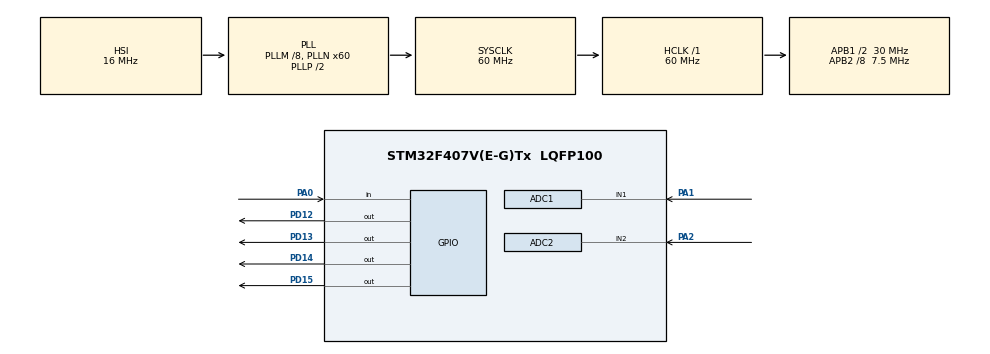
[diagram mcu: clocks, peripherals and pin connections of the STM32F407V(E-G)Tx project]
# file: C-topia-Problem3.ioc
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ADC1.Channel-0\#ChannelRegularConversion=ADC_CHANNEL_1
ADC1.InjNumberOfConversion=0
ADC1.NbrOfConversion=1
ADC1.NbrOfConversionFlag=1
ADC1.Resolution=ADC_RESOLUTION_8B
ADC1.master=1
ADC2.Channel-4\#ChannelRegularConversion=ADC_CHANNEL_2
ADC2.NbrOfConversionFlag=1
ADC2.Rank-4\#ChannelRegularConversion=1
ADC2.Resolution=ADC_RESOLUTION_8B
ADC2.SamplingTime-4\#ChannelRegularConversion=ADC_SAMPLETIME_3CYCLES
Mcu.Family=STM32F4
Mcu.Name=STM32F407V(E-G)Tx
Mcu.Package=LQFP100
NVIC.PriorityGroup=NVIC_PRIORITYGROUP_0
PA0-WKUP.Signal=GPIO_Input
PA1.Signal=ADCx_IN1
PA2.Signal=ADCx_IN2
PD12.Signal=GPIO_Output
PD13.Signal=GPIO_Output
PD14.Signal=GPIO_Output
PD15.Signal=GPIO_Output
ProjectManager.HeapSize=0x200
ProjectManager.StackSize=0x400
ProjectManager.TargetToolchain=STM32CubeIDE
RCC.48MHZClocksFreq_Value=17142857.14285714
RCC.AHBFreq_Value=60000000
RCC.APB1CLKDivider=RCC_HCLK_DIV2
RCC.APB1Freq_Value=30000000
RCC.APB1TimFreq_Value=60000000
RCC.APB2CLKDivider=RCC_HCLK_DIV8
RCC.APB2Freq_Value=7500000
RCC.APB2TimFreq_Value=15000000
RCC.CortexFreq_Value=60000000
RCC.HCLKFreq_Value=60000000
RCC.HSE_VALUE=8000000
RCC.HSI_VALUE=16000000
RCC.LSE_VALUE=32768
RCC.PLLM=8
RCC.PLLN=60
RCC.PLLQ=7
RCC.SYSCLKFreq_VALUE=60000000
RCC.SYSCLKSource=RCC_SYSCLKSOURCE_PLLCLK
RCC.VCOOutputFreq_Value=120000000
SH.ADCx_IN1.0=ADC1_IN1,IN1
SH.ADCx_IN2.0=ADC2_IN2,IN2
board=STM32F407G-DISC1

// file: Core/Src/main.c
/* USER CODE BEGIN Header */
/**
  ******************************************************************************
  * @file           : main.c
  * @brief          : Main program body
  ******************************************************************************
  * @attention
  *
  * Copyright (c) 2025 STMicroelectronics.
  * All rights reserved.
  *
  * This software is licensed under terms that can be found in the LICENSE file
  * in the root directory of this software component.
  * If no LICENSE file comes with this software, it is provided AS-IS.
  *
  ******************************************************************************
  */
/* USER CODE END Header */
#include "main.h"

ADC_HandleTypeDef hadc1;
ADC_HandleTypeDef hadc2;

void SystemClock_Config(void);
static void MX_GPIO_Init(void);
static void MX_ADC1_Init(void);
static void MX_ADC2_Init(void);

int main(void)
{

  /* MCU Configuration--------------------------------------------------------*/

  /* Reset of all peripherals, Initializes the Flash interface and the Systick. */
  HAL_Init();

  /* Configure the system clock */
  SystemClock_Config();

  /* Initialize all configured peripherals */
  MX_GPIO_Init();
  MX_ADC1_Init();
  MX_ADC2_Init();

  /* Infinite loop */
  while (1)
  {

    /* USER CODE BEGIN 3 */
	  int INX=0;
	  int INY=0;
	  if(HAL_GPIO_ReadPin(GPIOA, GPIO_PIN_0)== GPIO_PIN_SET){
		  HAL_GPIO_WritePin(GPIOD, GPIO_PIN_12,GPIO_PIN_RESET);
	  	  HAL_GPIO_WritePin(GPIOD, GPIO_PIN_13,GPIO_PIN_RESET);
	  	  HAL_GPIO_WritePin(GPIOD, GPIO_PIN_14,GPIO_PIN_RESET);
		  HAL_GPIO_WritePin(GPIOD, GPIO_PIN_15,GPIO_PIN_RESET);
		  if((HAL_ADC_Start(&hadc1)!=HAL_OK)|(HAL_ADC_Start(&hadc2)!=HAL_OK)){
			  HAL_GPIO_WritePin(GPIOD, GPIO_PIN_14,GPIO_PIN_SET);
		  }
		  else{
			  INX=HAL_ADC_GetValue(&hadc1);
			  INY=HAL_ADC_GetValue(&hadc2);
			  if(INX<INY){
				  HAL_GPIO_WritePin(GPIOD, GPIO_PIN_13,GPIO_PIN_SET);
			  }
			  else {if(INX>INY){
				  HAL_GPIO_WritePin(GPIOD, GPIO_PIN_12,GPIO_PIN_SET);
			  }
			  else{
				  HAL_GPIO_WritePin(GPIOD, GPIO_PIN_15,GPIO_PIN_SET);
			  }
			  }
		  }
	  }
  }

  /* USER CODE END 3 */
}

void SystemClock_Config(void)
{
  RCC_OscInitTypeDef RCC_OscInitStruct = {0};
  RCC_ClkInitTypeDef RCC_ClkInitStruct = {0};

  /** Configure the main internal regulator output voltage
  */
  __HAL_RCC_PWR_CLK_ENABLE();
  __HAL_PWR_VOLTAGESCALING_CONFIG(PWR_REGULATOR_VOLTAGE_SCALE1);

  /** Initializes the RCC Oscillators according to the specified parameters
  * in the RCC_OscInitTypeDef structure.
  */
  RCC_OscInitStruct.OscillatorType = RCC_OSCILLATORTYPE_HSI;
  RCC_OscInitStruct.HSIState = RCC_HSI_ON;
  RCC_OscInitStruct.HSICalibrationValue = RCC_HSICALIBRATION_DEFAULT;
  RCC_OscInitStruct.PLL.PLLState = RCC_PLL_ON;
  RCC_OscInitStruct.PLL.PLLSource = RCC_PLLSOURCE_HSI;
  RCC_OscInitStruct.PLL.PLLM = 8;
  RCC_OscInitStruct.PLL.PLLN = 60;
  RCC_OscInitStruct.PLL.PLLP = RCC_PLLP_DIV2;
  RCC_OscInitStruct.PLL.PLLQ = 7;
  if (HAL_RCC_OscConfig(&RCC_OscInitStruct) != HAL_OK)
  {
    Error_Handler();
  }

  /** Initializes the CPU, AHB and APB buses clocks
  */
  RCC_ClkInitStruct.ClockType = RCC_CLOCKTYPE_HCLK|RCC_CLOCKTYPE_SYSCLK
                              |RCC_CLOCKTYPE_PCLK1|RCC_CLOCKTYPE_PCLK2;
  RCC_ClkInitStruct.SYSCLKSource = RCC_SYSCLKSOURCE_PLLCLK;
  RCC_ClkInitStruct.AHBCLKDivider = RCC_SYSCLK_DIV1;
  RCC_ClkInitStruct.APB1CLKDivider = RCC_HCLK_DIV2;
  RCC_ClkInitStruct.APB2CLKDivider = RCC_HCLK_DIV8;

  if (HAL_RCC_ClockConfig(&RCC_ClkInitStruct, FLASH_LATENCY_1) != HAL_OK)
  {
    Error_Handler();
  }
}

static void MX_ADC1_Init(void)
{

  ADC_ChannelConfTypeDef sConfig = {0};

  /** Configure the global features of the ADC (Clock, Resolution, Data Alignment and number of conversion)
  */
  hadc1.Instance = ADC1;
  hadc1.Init.ClockPrescaler = ADC_CLOCK_SYNC_PCLK_DIV2;
  hadc1.Init.Resolution = ADC_RESOLUTION_8B;
  hadc1.Init.ScanConvMode = DISABLE;
  hadc1.Init.ContinuousConvMode = DISABLE;
  hadc1.Init.DiscontinuousConvMode = DISABLE;
  hadc1.Init.ExternalTrigConvEdge = ADC_EXTERNALTRIGCONVEDGE_NONE;
  hadc1.Init.ExternalTrigConv = ADC_SOFTWARE_START;
  hadc1.Init.DataAlign = ADC_DATAALIGN_RIGHT;
  hadc1.Init.NbrOfConversion = 1;
  hadc1.Init.DMAContinuousRequests = DISABLE;
  hadc1.Init.EOCSelection = ADC_EOC_SINGLE_CONV;
  if (HAL_ADC_Init(&hadc1) != HAL_OK)
  {
    Error_Handler();
  }

  /** Configure for the selected ADC regular channel its corresponding rank in the sequencer and its sample time.
  */
  sConfig.Channel = ADC_CHANNEL_1;
  sConfig.Rank = 1;
  sConfig.SamplingTime = ADC_SAMPLETIME_3CYCLES;
  if (HAL_ADC_ConfigChannel(&hadc1, &sConfig) != HAL_OK)
  {
    Error_Handler();
  }

}

static void MX_ADC2_Init(void)
{

  ADC_ChannelConfTypeDef sConfig = {0};

  /** Configure the global features of the ADC (Clock, Resolution, Data Alignment and number of conversion)
  */
  hadc2.Instance = ADC2;
  hadc2.Init.ClockPrescaler = ADC_CLOCK_SYNC_PCLK_DIV2;
  hadc2.Init.Resolution = ADC_RESOLUTION_8B;
  hadc2.Init.ScanConvMode = DISABLE;
  hadc2.Init.ContinuousConvMode = DISABLE;
  hadc2.Init.DiscontinuousConvMode = DISABLE;
  hadc2.Init.ExternalTrigConvEdge = ADC_EXTERNALTRIGCONVEDGE_NONE;
  hadc2.Init.ExternalTrigConv = ADC_SOFTWARE_START;
  hadc2.Init.DataAlign = ADC_DATAALIGN_RIGHT;
  hadc2.Init.NbrOfConversion = 1;
  hadc2.Init.DMAContinuousRequests = DISABLE;
  hadc2.Init.EOCSelection = ADC_EOC_SINGLE_CONV;
  if (HAL_ADC_Init(&hadc2) != HAL_OK)
  {
    Error_Handler();
  }

  /** Configure for the selected ADC regular channel its corresponding rank in the sequencer and its sample time.
  */
  sConfig.Channel = ADC_CHANNEL_2;
  sConfig.Rank = 1;
  sConfig.SamplingTime = ADC_SAMPLETIME_3CYCLES;
  if (HAL_ADC_ConfigChannel(&hadc2, &sConfig) != HAL_OK)
  {
    Error_Handler();
  }

}

static void MX_GPIO_Init(void)
{
  GPIO_InitTypeDef GPIO_InitStruct = {0};

  /* GPIO Ports Clock Enable */
  __HAL_RCC_GPIOA_CLK_ENABLE();
  __HAL_RCC_GPIOD_CLK_ENABLE();

  /*Configure GPIO pin Output Level */
  HAL_GPIO_WritePin(GPIOD, GPIO_PIN_12|GPIO_PIN_13|GPIO_PIN_14|GPIO_PIN_15, GPIO_PIN_RESET);

  /*Configure GPIO pin : PA0 */
  GPIO_InitStruct.Pin = GPIO_PIN_0;
  GPIO_InitStruct.Mode = GPIO_MODE_INPUT;
  GPIO_InitStruct.Pull = GPIO_NOPULL;
  HAL_GPIO_Init(GPIOA, &GPIO_InitStruct);

  /*Configure GPIO pins : PD12 PD13 PD14 PD15 */
  GPIO_InitStruct.Pin = GPIO_PIN_12|GPIO_PIN_13|GPIO_PIN_14|GPIO_PIN_15;
  GPIO_InitStruct.Mode = GPIO_MODE_OUTPUT_PP;
  GPIO_InitStruct.Pull = GPIO_NOPULL;
  GPIO_InitStruct.Speed = GPIO_SPEED_FREQ_LOW;
  HAL_GPIO_Init(GPIOD, &GPIO_InitStruct);

}

void Error_Handler(void)
{
  __disable_irq();
  while (1)
  {
  }
}
